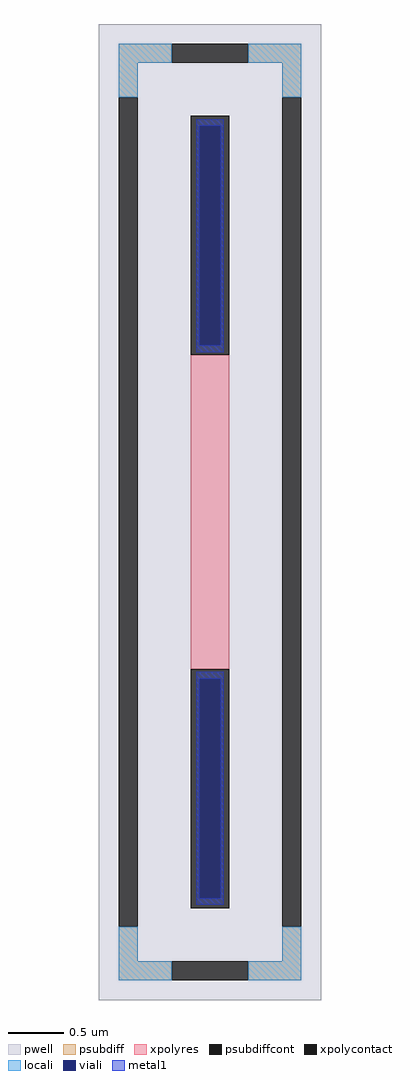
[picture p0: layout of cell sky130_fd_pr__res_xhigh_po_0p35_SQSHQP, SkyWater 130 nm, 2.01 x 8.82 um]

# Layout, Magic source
magic
tech sky130A
magscale 1 2
<< pwell >>
rect -201 -882 201 882
<< psubdiff >>
rect -165 812 -69 846
rect 69 812 165 846
rect -165 750 -131 812
rect 131 750 165 812
rect -165 -812 -131 -750
rect 131 -812 165 -750
rect -165 -846 -69 -812
rect 69 -846 165 -812
<< psubdiffcont >>
rect -69 812 69 846
rect -165 -750 -131 750
rect 131 -750 165 750
rect -69 -846 69 -812
<< xpolycontact >>
rect -35 284 35 716
rect -35 -716 35 -284
<< xpolyres >>
rect -35 -284 35 284
<< locali >>
rect -165 812 -69 846
rect 69 812 165 846
rect -165 750 -131 812
rect 131 750 165 812
rect -165 -812 -131 -750
rect 131 -812 165 -750
rect -165 -846 -69 -812
rect 69 -846 165 -812
<< viali >>
rect -19 301 19 698
rect -19 -698 19 -301
<< metal1 >>
rect -25 698 25 710
rect -25 301 -19 698
rect 19 301 25 698
rect -25 289 25 301
rect -25 -301 25 -289
rect -25 -698 -19 -301
rect 19 -698 25 -301
rect -25 -710 25 -698
<< properties >>
string FIXED_BBOX -148 -829 148 829
string gencell sky130_fd_pr__res_xhigh_po_0p35
string library sky130
string parameters w 0.35 l 3.0 m 1 nx 1 wmin 0.350 lmin 0.50 rho 2000 val 18.218k dummy 0 dw 0.0 term 188.2 sterm 0.0 caplen 0 wmax 0.350 guard 1 glc 1 grc 1 gtc 1 gbc 1 compatible {sky130_fd_pr__res_xhigh_po_0p35  sky130_fd_pr__res_xhigh_po_0p69 sky130_fd_pr__res_xhigh_po_1p41  sky130_fd_pr__res_xhigh_po_2p85 sky130_fd_pr__res_xhigh_po_5p73} snake 1 full_metal 1 n_guard 0 hv_guard 0 vias 1 viagb 0 viagt 0 viagl 0 viagr 0
<< end >>
